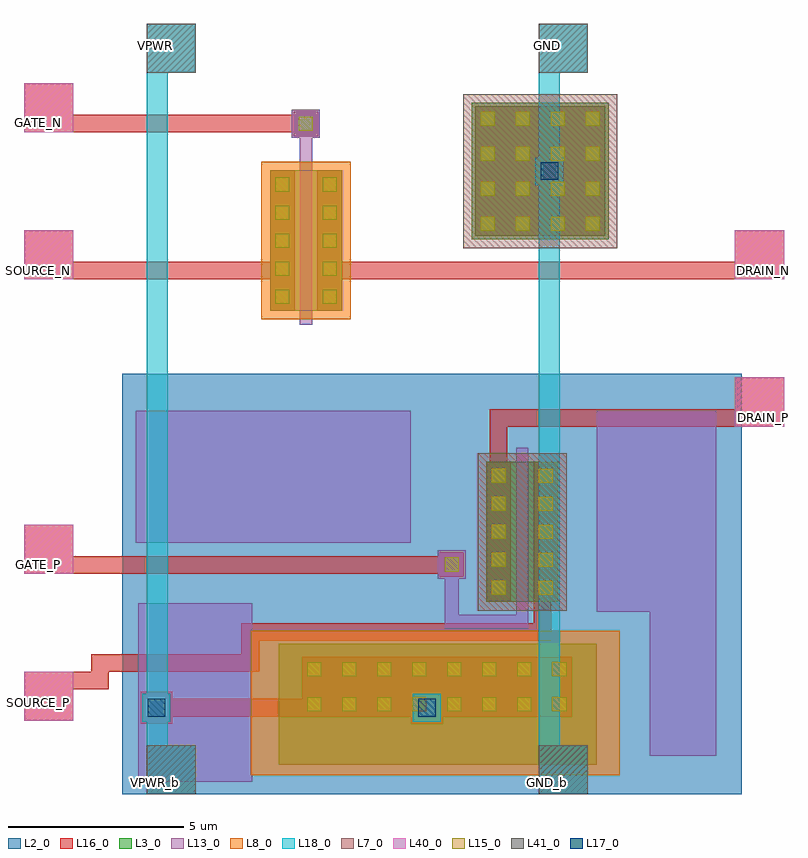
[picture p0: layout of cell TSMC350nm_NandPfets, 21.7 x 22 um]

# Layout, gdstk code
import gdstk
lib = gdstk.Library(unit=1e-6, precision=1e-09)
def R(c, l, rs):  # rectangles x0, y0, x1, y1
    for r in rs: c.add(gdstk.rectangle(r[:2], r[2:], *l))
def A(c, l, x, y, w, h, nx, ny, dx, dy):  # array of equal rectangles
    R(c, l, [(x+i*dx, y+j*dy, x+i*dx+w, y+j*dy+h) for i in range(nx) for j in range(ny)])
L2_0 = (2, 0)
L3_0 = (3, 0)
L7_0 = (7, 0)
L8_0 = (8, 0)
L13_0 = (13, 0)
L15_0 = (15, 0)
L16_0 = (16, 0)
L17_0 = (17, 0)
L18_0 = (18, 0)
L40_0 = (40, 0)
L41_0 = (41, 0)

pch_cdns_744324469410 = lib.new_cell('pch_CDNS_744324469410')
R(pch_cdns_744324469410, L2_0, [(-2.05,-1.2,2.4,5.2)])
R(pch_cdns_744324469410, L3_0, [(-0.85,0,-0.15,4), (-0.85,0,-0.15,4), (-0.15,0,0.5,4), (0.5,0,1.2,4), (0.5,0,1.2,4)])
R(pch_cdns_744324469410, L7_0, [(-1.1,-0.25,1.45,4.25)])
R(pch_cdns_744324469410, L13_0, [(0,-0.4,0.35,4.4)])
A(pch_cdns_744324469410, L15_0, -0.7, 0.2, 0.4, 0.4, 1, 5, 0, 0.8)
A(pch_cdns_744324469410, L15_0, 0.65, 0.2, 0.4, 0.4, 1, 5, 0, 0.8)
R(pch_cdns_744324469410, L16_0, [(-0.85,0,-0.15,4), (0.5,0,1.2,4)])
pch_cdns_744324469410.add(gdstk.Label('D', (0.85,2), layer=59, texttype=0))
pch_cdns_744324469410.add(gdstk.Label('S', (-0.5,2), layer=59, texttype=0))
pch_cdns_744324469410.add(gdstk.Label('G', (0.175,2), layer=59, texttype=0))
pch_cdns_744324469410.add(gdstk.Label('& SerialNumber 000000', (0,0), layer=16, texttype=0))
pch_cdns_744324469410.add(gdstk.Label('& Distributor VIS', (0,0), layer=16, texttype=0))
pch_cdns_744324469410.add(gdstk.Label('& Metric 1', (0,0), layer=16, texttype=0))
pch_cdns_744324469410.add(gdstk.Label('& Version    \t  1.7A', (0,0), layer=16, texttype=0))
pch_cdns_744324469410.add(gdstk.Label('& PDKName     vis35cv', (0,0), layer=16, texttype=0))
pch_cdns_744324469410.add(gdstk.Label('& Vendor VIS Corp.', (0,0), layer=16, texttype=0))
pch_cdns_744324469410.add(gdstk.Label('& SerialNumber 000000', (0,0), layer=63, texttype=63))
pch_cdns_744324469410.add(gdstk.Label('& Distributor VIS', (0,0), layer=63, texttype=63))
pch_cdns_744324469410.add(gdstk.Label('& Metric 1', (0,0), layer=63, texttype=63))
pch_cdns_744324469410.add(gdstk.Label('& Version    \t  1.7A', (0,0), layer=63, texttype=63))
pch_cdns_744324469410.add(gdstk.Label('& PDKName     vis35cv', (0,0), layer=63, texttype=63))
pch_cdns_744324469410.add(gdstk.Label('& Vendor VIS Corp.', (0,0), layer=63, texttype=63))

nch_cdns_744324469411 = lib.new_cell('nch_CDNS_744324469411')
R(nch_cdns_744324469411, L3_0, [(-0.85,0,-0.15,4), (-0.85,0,-0.15,4), (-0.15,0,0.5,4), (0.5,0,1.2,4), (0.5,0,1.2,4)])
R(nch_cdns_744324469411, L8_0, [(-1.1,-0.25,1.45,4.25)])
R(nch_cdns_744324469411, L13_0, [(0,-0.4,0.35,4.4)])
A(nch_cdns_744324469411, L15_0, -0.7, 0.2, 0.4, 0.4, 1, 5, 0, 0.8)
A(nch_cdns_744324469411, L15_0, 0.65, 0.2, 0.4, 0.4, 1, 5, 0, 0.8)
R(nch_cdns_744324469411, L16_0, [(-0.85,0,-0.15,4), (0.5,0,1.2,4)])
nch_cdns_744324469411.add(gdstk.Label('D', (0.85,2), layer=59, texttype=0))
nch_cdns_744324469411.add(gdstk.Label('S', (-0.5,2), layer=59, texttype=0))
nch_cdns_744324469411.add(gdstk.Label('G', (0.175,2), layer=59, texttype=0))
nch_cdns_744324469411.add(gdstk.Label('& SerialNumber 000000', (0,0), layer=16, texttype=0))
nch_cdns_744324469411.add(gdstk.Label('& Distributor VIS', (0,0), layer=16, texttype=0))
nch_cdns_744324469411.add(gdstk.Label('& Metric 1', (0,0), layer=16, texttype=0))
nch_cdns_744324469411.add(gdstk.Label('& Version    \t  1.7A', (0,0), layer=16, texttype=0))
nch_cdns_744324469411.add(gdstk.Label('& PDKName     vis35cv', (0,0), layer=16, texttype=0))
nch_cdns_744324469411.add(gdstk.Label('& Vendor VIS Corp.', (0,0), layer=16, texttype=0))
nch_cdns_744324469411.add(gdstk.Label('& SerialNumber 000000', (0,0), layer=63, texttype=63))
nch_cdns_744324469411.add(gdstk.Label('& Distributor VIS', (0,0), layer=63, texttype=63))
nch_cdns_744324469411.add(gdstk.Label('& Metric 1', (0,0), layer=63, texttype=63))
nch_cdns_744324469411.add(gdstk.Label('& Version    \t  1.7A', (0,0), layer=63, texttype=63))
nch_cdns_744324469411.add(gdstk.Label('& PDKName     vis35cv', (0,0), layer=63, texttype=63))
nch_cdns_744324469411.add(gdstk.Label('& Vendor VIS Corp.', (0,0), layer=63, texttype=63))

m1_poly1_cdns_7443244694 = lib.new_cell('M1_POLY1_CDNS_744324469410')
R(m1_poly1_cdns_7443244694, L13_0, [(-0.4,-0.4,0.4,0.4)])
R(m1_poly1_cdns_7443244694, L15_0, [(-0.2,-0.2,0.2,0.2)])
R(m1_poly1_cdns_7443244694, L16_0, [(-0.35,-0.35,0.35,0.35)])

m2_m1_cdns_744324469411 = lib.new_cell('M2_M1_CDNS_744324469411')
R(m2_m1_cdns_744324469411, L16_0, [(-0.45,-0.45,0.45,0.45)])
R(m2_m1_cdns_744324469411, L17_0, [(-0.25,-0.25,0.25,0.25)])
R(m2_m1_cdns_744324469411, L18_0, [(-0.4,-0.4,0.4,0.4)])

m1_nactive_cdns_74432446 = lib.new_cell('M1_NACTIVE_CDNS_744324469412')
R(m1_nactive_cdns_74432446, L3_0, [(-3.95,-0.95,3.95,0.95)])
R(m1_nactive_cdns_74432446, L8_0, [(-4.2,-1.2,4.2,1.2)])
A(m1_nactive_cdns_74432446, L15_0, -3.7, -0.7, 0.4, 0.4, 8, 2, 1, 1)
R(m1_nactive_cdns_74432446, L16_0, [(-3.85,-0.85,3.85,0.85)])

m1_pactive_cdns_74432446 = lib.new_cell('M1_PACTIVE_CDNS_744324469413')
R(m1_pactive_cdns_74432446, L3_0, [(-1.95,-1.95,1.95,1.95)])
R(m1_pactive_cdns_74432446, L7_0, [(-2.2,-2.2,2.2,2.2)])
A(m1_pactive_cdns_74432446, L15_0, -1.7, -1.7, 0.4, 0.4, 4, 4, 1, 1)
R(m1_pactive_cdns_74432446, L16_0, [(-1.85,-1.85,1.85,1.85)])

c_m1_poly1_cdns_7443244694 = lib.new_cell('M1_POLY1_CDNS_744324469414')
R(c_m1_poly1_cdns_7443244694, L13_0, [(-0.41,-0.4,0.39,0.4)])
R(c_m1_poly1_cdns_7443244694, L15_0, [(-0.21,-0.2,0.19,0.2)])
R(c_m1_poly1_cdns_7443244694, L16_0, [(-0.36,-0.35,0.34,0.35)])

tsmc350nm_nandpfets = lib.new_cell('TSMC350nm_NandPfets')
R(tsmc350nm_nandpfets, L2_0, [(2.8,0,20.5,12.01)])
R(tsmc350nm_nandpfets, L3_0, [(7.28,0.84,16.36,4.3)])
R(tsmc350nm_nandpfets, L8_0, [(6.47,0.54,17.01,4.67)])
R(tsmc350nm_nandpfets, L13_0, [(3.26,0.35,6.52,5.46), (17.87,1.1,19.77,5.78), (16.36,5.21,19.77,10.95), (3.19,7.175,11.04,10.95)])
R(tsmc350nm_nandpfets, L16_0, [(0,2.1,1.4,3.5), (14.55,5.27,15.05,5.49), (0,6.3,1.4,7.7), (20.3,10.5,21.7,11.9), (0,14.7,1.4,16.1), (20.3,14.7,21.7,16.1), (0,18.9,1.4,20.3)])
R(tsmc350nm_nandpfets, L18_0, [(3.5,0,4.9,1.4), (14.7,0,16.1,1.4), (3.5,20.6,4.9,22), (14.7,20.6,16.1,22)])
R(tsmc350nm_nandpfets, L40_0, [(0,2.1,1.4,3.5), (0,6.3,1.4,7.7), (20.3,10.5,21.7,11.9), (0,14.7,1.4,16.1), (20.3,14.7,21.7,16.1), (0,18.9,1.4,20.3)])
R(tsmc350nm_nandpfets, L41_0, [(3.5,0,4.9,1.4), (14.7,0,16.1,1.4), (3.5,20.6,4.9,22), (14.7,20.6,16.1,22)])
tsmc350nm_nandpfets.add(gdstk.FlexPath([(8.055,18.21),(8.055,19.14)], 0.35, ends="flush", simple_path=True, layer=13, datatype=0))  # L13_0
tsmc350nm_nandpfets.add(gdstk.FlexPath([(14.4,4.92),(12.21,4.92)], 0.4, ends=(0, 0.2), simple_path=True, layer=13, datatype=0))  # L13_0
tsmc350nm_nandpfets.add(gdstk.FlexPath([(12.21,4.92),(12.21,6.35)], 0.4, ends=(0.2, 0), simple_path=True, layer=13, datatype=0))  # L13_0
tsmc350nm_nandpfets.add(gdstk.FlexPath([(11.5,2.47),(3.49,2.47)], 0.5, ends="flush", simple_path=True, layer=16, datatype=0))  # L16_0
tsmc350nm_nandpfets.add(gdstk.FlexPath([(11.79,2.47),(11.5,2.47)], 0.5, ends=(3.85, 0), simple_path=True, layer=16, datatype=0))  # L16_0
tsmc350nm_nandpfets.add(gdstk.FlexPath([(11.79,3.07),(11.79,2.47)], 7.7, ends=(0, 0.25), simple_path=True, layer=16, datatype=0))  # L16_0
tsmc350nm_nandpfets.add(gdstk.FlexPath([(14.74,17.79),(14.66,17.79)], 0.5, ends="flush", simple_path=True, layer=16, datatype=0))  # L16_0
tsmc350nm_nandpfets.add(gdstk.FlexPath([(8.06,19.15),(0,19.15)], 0.5, ends="flush", simple_path=True, layer=16, datatype=0))  # L16_0
tsmc350nm_nandpfets.add(gdstk.FlexPath([(2.17,3.75),(2.17,3.25)], 0.5, ends="extended", simple_path=True, layer=16, datatype=0))  # L16_0
tsmc350nm_nandpfets.add(gdstk.FlexPath([(7.38,14.95),(0,14.95)], 0.5, ends=(0.35, 0), simple_path=True, layer=16, datatype=0))  # L16_0
tsmc350nm_nandpfets.add(gdstk.FlexPath([(13.55,9.49),(13.55,10.75)], 0.5, ends=(0, 0.25), simple_path=True, layer=16, datatype=0))  # L16_0
tsmc350nm_nandpfets.add(gdstk.FlexPath([(9.08,14.95),(21.7,14.95)], 0.5, ends="flush", simple_path=True, layer=16, datatype=0))  # L16_0
tsmc350nm_nandpfets.add(gdstk.FlexPath([(12.21,6.55),(0,6.55)], 0.5, ends="flush", simple_path=True, layer=16, datatype=0))  # L16_0
tsmc350nm_nandpfets.add(gdstk.FlexPath([(6.46,4.63),(6.46,3.75)], 0.5, ends="extended", simple_path=True, layer=16, datatype=0))  # L16_0
tsmc350nm_nandpfets.add(gdstk.FlexPath([(6.46,3.75),(2.17,3.75)], 0.5, ends="extended", simple_path=True, layer=16, datatype=0))  # L16_0
tsmc350nm_nandpfets.add(gdstk.FlexPath([(14.8,4.63),(6.46,4.63)], 0.5, ends="extended", simple_path=True, layer=16, datatype=0))  # L16_0
tsmc350nm_nandpfets.add(gdstk.FlexPath([(14.8,5.27),(14.8,4.63)], 0.5, ends=(0, 0.25), simple_path=True, layer=16, datatype=0))  # L16_0
tsmc350nm_nandpfets.add(gdstk.FlexPath([(13.55,10.75),(21.7,10.75)], 0.5, ends=(0.25, 0), simple_path=True, layer=16, datatype=0))  # L16_0
tsmc350nm_nandpfets.add(gdstk.FlexPath([(2.17,3.25),(1.28,3.25)], 0.5, ends=(0.25, 0), simple_path=True, layer=16, datatype=0))  # L16_0
tsmc350nm_nandpfets.add(gdstk.FlexPath([(3.8,0),(3.8,22)], 0.6, ends="flush", simple_path=True, layer=18, datatype=0))  # L18_0
tsmc350nm_nandpfets.add(gdstk.FlexPath([(15,0),(15,22)], 0.6, ends="flush", simple_path=True, layer=18, datatype=0))  # L18_0
tsmc350nm_nandpfets.add(gdstk.Reference(pch_cdns_744324469410, (14.05,9.49), x_reflection=True))
tsmc350nm_nandpfets.add(gdstk.Reference(nch_cdns_744324469411, (7.88,13.81)))
tsmc350nm_nandpfets.add(gdstk.Reference(m1_poly1_cdns_7443244694, (12.21,6.56), x_reflection=True))
tsmc350nm_nandpfets.add(gdstk.Reference(m2_m1_cdns_744324469411, (3.78,2.47), x_reflection=True))
tsmc350nm_nandpfets.add(gdstk.Reference(m2_m1_cdns_744324469411, (11.5,2.47), x_reflection=True))
tsmc350nm_nandpfets.add(gdstk.Reference(m2_m1_cdns_744324469411, (15,17.79)))
tsmc350nm_nandpfets.add(gdstk.Reference(m1_nactive_cdns_74432446, (11.79,3.07), x_reflection=True))
tsmc350nm_nandpfets.add(gdstk.Reference(m1_pactive_cdns_74432446, (14.74,17.79)))
tsmc350nm_nandpfets.add(gdstk.Reference(c_m1_poly1_cdns_7443244694, (8.06,19.14)))
tsmc350nm_nandpfets.add(gdstk.Label('SOURCE_P', (0.41,2.63), layer=40, texttype=0))
tsmc350nm_nandpfets.add(gdstk.Label('GATE_P', (0.42,6.57), layer=40, texttype=0))
tsmc350nm_nandpfets.add(gdstk.Label('GATE_N', (0.42,19.17), layer=40, texttype=0))
tsmc350nm_nandpfets.add(gdstk.Label('SOURCE_N', (0.41,14.95), layer=40, texttype=0))
tsmc350nm_nandpfets.add(gdstk.Label('DRAIN_P', (21.115,10.755), layer=40, texttype=0))
tsmc350nm_nandpfets.add(gdstk.Label('DRAIN_N', (21.115,14.955), layer=40, texttype=0))
tsmc350nm_nandpfets.add(gdstk.Label('VPWR', (3.76,21.38), layer=41, texttype=0))
tsmc350nm_nandpfets.add(gdstk.Label('GND', (14.96,21.38), layer=41, texttype=0))
tsmc350nm_nandpfets.add(gdstk.Label('GND_b', (14.96,0.33), layer=41, texttype=0))
tsmc350nm_nandpfets.add(gdstk.Label('VPWR_b', (3.76,0.33), layer=41, texttype=0))

lib.write_gds('TSMC350nm_NandPfets.gds')
